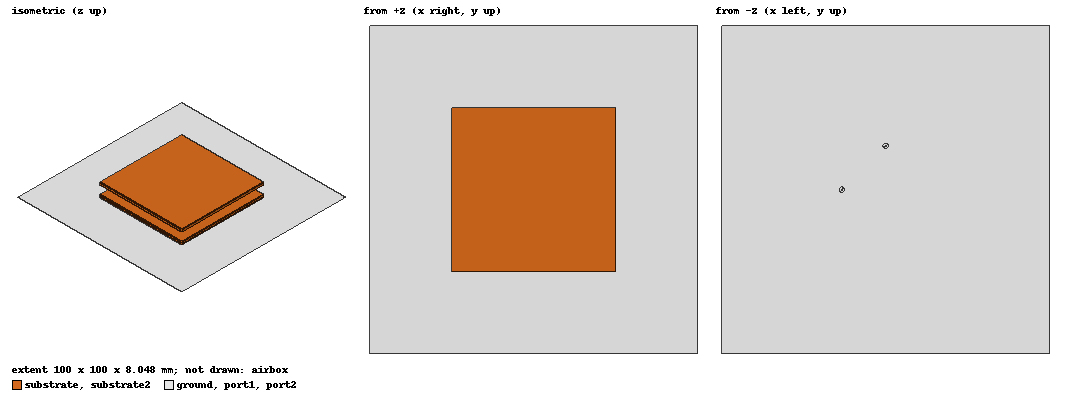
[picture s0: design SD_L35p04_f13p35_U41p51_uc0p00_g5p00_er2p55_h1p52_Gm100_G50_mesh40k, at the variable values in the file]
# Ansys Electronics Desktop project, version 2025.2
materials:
  vacuum: permittivity=1
  substrate_design: permittivity=2.55 permeability=1 dielectric_loss_tangent=0.0018
  copper: permeability=0.999991 conductivity=58000000
  pec: conductivity=1e+30

design SD_L35p04_f13p35_U41p51_uc0p00_g5p00_er2p55_h1p52_Gm100_G50_mesh40k (HFSS, HFSS Modal Network, model units mm)
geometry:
  substrate [substrate_design] = box(corner=(-25mm, -25mm, 0mm), size=(50mm, 50mm, 1.524mm))
  ground = rectangle(corner=(-50mm, -50mm, 0mm), x_size=100mm, y_size=100mm)
  hole1 = circle(normal=Z, centre=(13.35mm, 0mm, 0mm), radius=0.8mm)
  ground.subtract(hole1)
  hole2 = circle(normal=Z, centre=(0mm, 13.35mm, 0mm), radius=0.8mm)
  ground.subtract(hole2)
  patch = polyline(z=1.524mm, xy in mm: (-17.52, 17.52) (17.52, 17.52) (17.52, -17.52) (-17.52, -17.52) (-17.52, 17.52), closed, covered)
  substrate2 [substrate_design] = box(corner=(-25mm, -25mm, 6.524mm), size=(50mm, 50mm, 1.524mm))
  patch2 = polyline(z=6.524mm, xy in mm: (-20.755, 20.755) (20.755, 20.755) (20.755, -20.755) (-20.755, -20.755) (-20.755, 20.755), closed, covered)
  pin1 [pec] = cylinder(axis=Z, base_centre=(13.35mm, 0mm, 0mm), radius=0.25mm, height=1.524mm)
  pin1_1 = pin1.copy()
  substrate.subtract(pin1_1)
  port1 = circle(normal=Z, centre=(13.35mm, 0mm, 0mm), radius=0.8mm)
  inner1 = circle(normal=Z, centre=(13.35mm, 0mm, 0mm), radius=0.25mm)
  port1.subtract(inner1)
  pin2 [pec] = cylinder(axis=Z, base_centre=(0mm, 13.35mm, 0mm), radius=0.25mm, height=1.524mm)
  pin2_1 = pin2.copy()
  substrate.subtract(pin2_1)
  port2 = circle(normal=Z, centre=(0mm, 13.35mm, 0mm), radius=0.8mm)
  inner2 = circle(normal=Z, centre=(0mm, 13.35mm, 0mm), radius=0.25mm)
  port2.subtract(inner2)
  airbox [vacuum] = box(corner=(-80.906439mm, -80.906439mm, -30.906439mm), size=(161.81288mm, 161.81288mm, 69.860878mm))
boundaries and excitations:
  Cu_sheets: Finite Conductivity Objects=[patch, ground, patch2] UseMaterial Material=copper Roughness=0mm IsInternal
  Rad__QA6XN9: Radiation Objects=airbox
  P1: Lumped Port Objects=port1 LumpedPortType=Modal Modes{Mode1{IntLine{(13.6, 0, 0) -> (14.15, 0, 0)} CharImp=Zpi RenormImp=50ohm}} Impedance=50ohm
  P2: Lumped Port Objects=port2 LumpedPortType=Modal Modes{Mode1{IntLine{(0.25, 13.35, 0) -> (0.8, 13.35, 0)} CharImp=Zpi RenormImp=50ohm}} Impedance=50ohm
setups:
  Setup1: HfssDriven Frequency=2.425GHz MaxDeltaS=1e-05 MaximumPasses=13 MinimumPasses=1 MinimumConvergedPasses=2 PercentRefinement=30 BasisOrder=1 PortAccuracy=2 DrivenSolverType="Direct Solver"
    sweep S: 2.2GHz to 2.7GHz, 1001 points; Type=Interpolating InterpTolerance=0.5 InterpMaxSolns=250 InterpUsePortImped=false PassivityErrorTolerance=0.0001
    sweep FF: 2.365GHz to 2.485GHz step 0.005GHz; Type=Discrete SaveFields
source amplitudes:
  P1:1: 1W 0deg
  P2:1: 1W -90deg
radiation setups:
  ff: Infinite Sphere Theta=-180deg..180deg step 2deg Phi=0deg..90deg step 90deg
